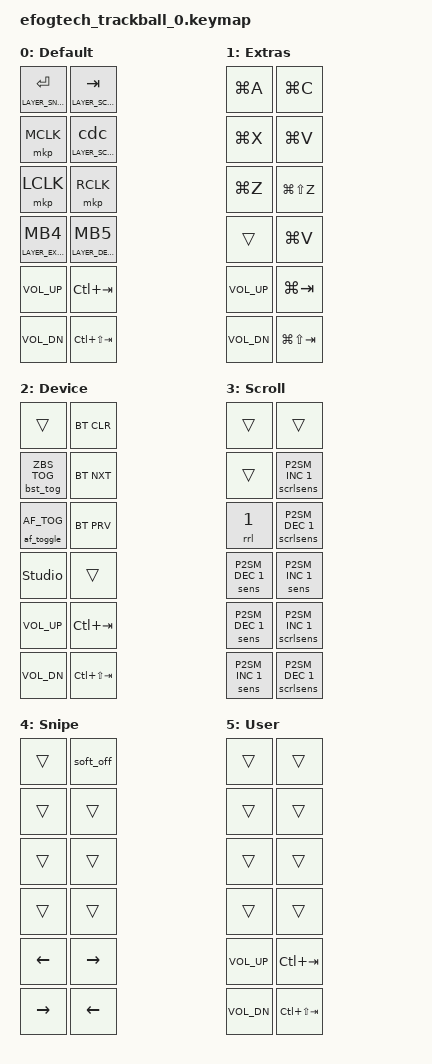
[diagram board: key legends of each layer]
#include <behaviors.dtsi>
#include <dt-bindings/zmk/bt.h>
#include <dt-bindings/zmk/keys.h>
#include <dt-bindings/zmk/pointing.h>
#include <dt-bindings/zmk/outputs.h>
#include <dt-bindings/zmk/adaptive_feedback.h>
#include <dt-bindings/zmk/bistable_behavior.h>
#include <dt-bindings/zmk/p2sm.h>

#ifndef LAYER_DEFAULT
#define LAYER_DEFAULT      0
#define LAYER_EXTRAS       1
#define LAYER_DEVICE       2
#define LAYER_SCROLL       3
#define LAYER_SNIPE        4
#define LAYER_USER         5
#endif

#define TWIST_MULTIPLIER   1
#define TWIST_DIVISOR      10

#define SCROLL_MULTIPLIER  1
#define SCROLL_DIVISOR     3

#define SNIPE_MULTIPLIER   1
#define SNIPE_DIVISOR      4

/ {
	keymap {
		compatible = "zmk,keymap";

		default_layer {
			display-name = "Default";
			DECLARE_ENCODERS;
			bindings = <
				// buttons
				&ltmkp LAYER_SNIPE ENTER  &ltmkp LAYER_SCROLL TAB
				&mkp MCLK                 &cdch LAYER_SCROLL 0
				&mkp LCLK                 &mkp RCLK
				&ltm LAYER_EXTRAS MB4     &ltm LAYER_DEVICE MB5

				// rotary encoders
				&kp C_VOL_UP              &kp LC(TAB)
				&kp C_VOL_DN              &kp LC(LS(TAB))
			>;
		};

		layer1 {
			display-name = "Extras";
			DECLARE_ENCODERS;
			bindings = <

				&kp LG(A)      &kp LG(C)
				&kp LG(X)      &kp LG(V)
				&kp LG(Z)      &kp LG(LS(Z))
				&trans         &kp LG(V)

				&kp C_VOL_UP   &kp LG(TAB)
				&kp C_VOL_DN   &kp LG(LS(TAB))
			>;
		};

		layer2 {
			display-name = "Device";
			DECLARE_ENCODERS;
			bindings = <
				&trans             &bt BT_CLR
				&bst_tog ZBS_TOG   &bt BT_NXT
				&af_toggle AF_TOG  &bt BT_PRV
				&studio_unlock     &trans

				&kp C_VOL_UP       &kp LC(TAB)
				&kp C_VOL_DN       &kp LC(LS(TAB))
			>;
		};

		layer3 {
			display-name = "Scroll";
			DECLARE_ENCODERS;
			bindings = <
			    &trans              &trans
			    &trans              &scrlsens P2SM_INC 1
			    &rrl 1              &scrlsens P2SM_DEC 1
			    &sens P2SM_DEC 1    &sens P2SM_INC 1

				&sens P2SM_DEC 1    &scrlsens P2SM_INC 1
				&sens P2SM_INC 1    &scrlsens P2SM_DEC 1
			>;
		};

		layer4 {
			display-name = "Snipe";
			DECLARE_ENCODERS;
			bindings = <
				&trans           &soft_off
				&trans           &trans
				&trans           &trans
				&trans           &trans

				&kp LEFT         &kp RIGHT
				&kp RIGHT        &kp LEFT
			>;
		};

		layer5 {
			display-name = "User";
			DECLARE_ENCODERS;
			bindings = <
				&trans        &trans
				&trans        &trans
				&trans        &trans
				&trans        &trans

				&kp C_VOL_UP  &kp LC(TAB)
				&kp C_VOL_DN  &kp LC(LS(TAB))
		    >;
		};
	};


	behaviors {
		cdch: click-double-click-hold {
			compatible = "zmk,behavior-hold-tap";
			display-name = "Copy/paste/layer (click/double-click/hold)";
			#binding-cells = <2>;
			flavor = "tap-preferred";
			tapping-term-ms = <325>;
			bindings = <&mo>, <&cdc>;
		};

		cdc: click-double-click {
			compatible = "zmk,behavior-tap-dance";
			display-name = "Copy/paste (click/double-click)";
			#binding-cells = <0>;
			tapping-term-ms = <300>;
			bindings = <&kp LG(C)>, <&kp LG(V)>;
		};
	};

	trackball {
		input-processors = <&zip_scroll_scaler TWIST_MULTIPLIER TWIST_DIVISOR>,
						   <&zip_pointer_accel>, <&zip_scroll_accel>,
						   <&zip_rotate_pointer>, <&zip_rotate_scroll>,
		                   <&zip_ble_report_rate_limit>;

		scroll {
			layers = <LAYER_SCROLL>;
			input-processors = <&zip_xy_scaler SCROLL_MULTIPLIER SCROLL_DIVISOR>, <&zip_axis_clamper>,
							   <&zip_xy_to_scroll_mapper>, <&zip_scroll_transform INPUT_TRANSFORM_Y_INVERT>,
							   <&zip_dragscroll_accel>, <&zip_rotate_scroll>, <&zip_ble_report_rate_limit>;
		};

		snipe {
			layers = <LAYER_SNIPE>;
			input-processors = <&zip_xy_scaler SNIPE_MULTIPLIER SNIPE_DIVISOR>,
							   <&zip_rotate_pointer>, <&zip_rotate_scroll>, <&zip_ble_report_rate_limit>;
		};
	};
};
